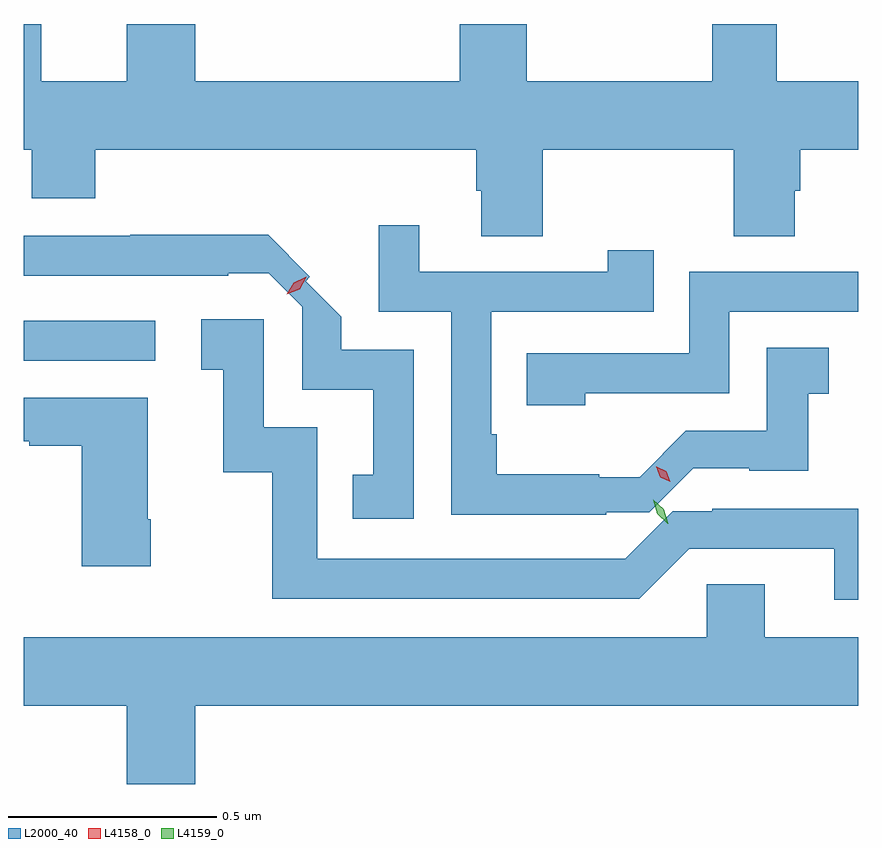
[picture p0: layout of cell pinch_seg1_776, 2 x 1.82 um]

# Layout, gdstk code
import gdstk
lib = gdstk.Library(unit=1e-6, precision=1e-09)
def R(c, l, rs):  # rectangles x0, y0, x1, y1
    for r in rs: c.add(gdstk.rectangle(r[:2], r[2:], *l))
def P(c, l, *ps):  # polygons
    for p in ps: c.add(gdstk.Polygon(p, *l))
L2000_40 = (2000, 40)
L4158_0 = (4158, 0)
L4159_0 = (4159, 0)

pinch_seg1_776 = lib.new_cell('pinch_seg1_776')
R(pinch_seg1_776, L2000_40, [(860.065,508.602,860.38,508.698)])
P(pinch_seg1_776, L2000_40, [(861.309,509.108),(861.766,509.108),(861.766,508.9),(861.913,508.9),(861.913,509.01),(861.926,509.01),(861.926,509.108),(862.065,509.108),(862.065,509.272),(861.87,509.272),(861.87,509.409),(861.715,509.409),(861.715,509.272),(861.27,509.272),(861.27,509.409),(861.11,509.409),(861.11,509.272),(860.476,509.272),(860.476,509.409),(860.312,509.409),(860.312,509.272),(860.107,509.272),(860.107,509.409),(860.065,509.409),(860.065,509.108),(860.084,509.108),(860.084,508.991),(860.237,508.991),(860.237,509.108),(861.149,509.108),(861.149,509.01),(861.161,509.01),(861.161,508.9),(861.309,508.9)],
  [(861.461,508.239),(861.564,508.239),(861.669,508.344),(861.803,508.344),(861.803,508.338),(861.945,508.338),(861.945,508.523),(861.994,508.523),(861.994,508.633),(861.846,508.633),(861.846,508.434),(861.652,508.434),(861.541,508.323),(861.444,508.323),(861.444,508.33),(861.199,508.33),(861.199,508.426),(861.186,508.426),(861.186,508.719),(861.575,508.719),(861.575,508.867),(861.464,508.867),(861.464,508.815),(861.013,508.815),(861.013,508.927),(860.916,508.927),(860.916,508.719),(861.09,508.719),(861.09,508.233),(861.461,508.233)],
  [(861,508.629),(860.826,508.629),(860.826,508.708),(860.741,508.793),(860.751,508.803),(860.651,508.904),(860.32,508.904),(860.32,508.902),(860.065,508.902),(860.065,508.806),(860.555,508.806),(860.555,508.812),(860.652,508.812),(860.733,508.731),(860.733,508.533),(860.903,508.533),(860.903,508.329),(860.854,508.329),(860.854,508.224),(861,508.224)],
  [(861.411,508.524),(861.756,508.524),(861.756,508.719),(862.065,508.719),(862.065,508.815),(861.66,508.815),(861.66,508.62),(861.271,508.62),(861.271,508.496),(861.411,508.496)],
  [(862.065,508.248),(861.715,508.248),(861.715,508.242),(861.62,508.242),(861.506,508.128),(860.769,508.128),(860.769,508.443),(860.64,508.443),(860.64,508.702),(860.49,508.702),(860.49,508.581),(860.543,508.581),(860.543,508.335),(860.661,508.335),(860.661,508.032),(861.54,508.032),(861.66,508.152),(862.007,508.152),(862.007,508.029),(862.065,508.029)],
  [(860.37,508.222),(860.362,508.222),(860.362,508.513),(860.065,508.513),(860.065,508.409),(860.078,508.409),(860.078,508.399),(860.204,508.399),(860.204,508.11),(860.37,508.11)],
  [(860.476,507.776),(862.065,507.776),(862.065,507.94),(861.841,507.94),(861.841,508.067),(861.702,508.067),(861.702,507.94),(860.065,507.94),(860.065,507.776),(860.312,507.776),(860.312,507.588),(860.476,507.588)])
P(pinch_seg1_776, L4158_0, [(860.695,508.761),(860.695,508.761),(860.712,508.789),(860.742,508.803),(860.742,508.803),(860.742,508.802),(860.726,508.774),(860.696,508.761)],
  [(861.614,508.312),(861.59,508.323),(861.581,508.348),(861.581,508.348),(861.582,508.348),(861.605,508.337),(861.614,508.312),(861.614,508.312)])
P(pinch_seg1_776, L4159_0, [(861.608,508.212),(861.583,508.235),(861.573,508.269),(861.573,508.269),(861.574,508.269),(861.599,508.246),(861.609,508.212),(861.609,508.212)])

lib.write_gds('pinch_seg1_776.gds')
